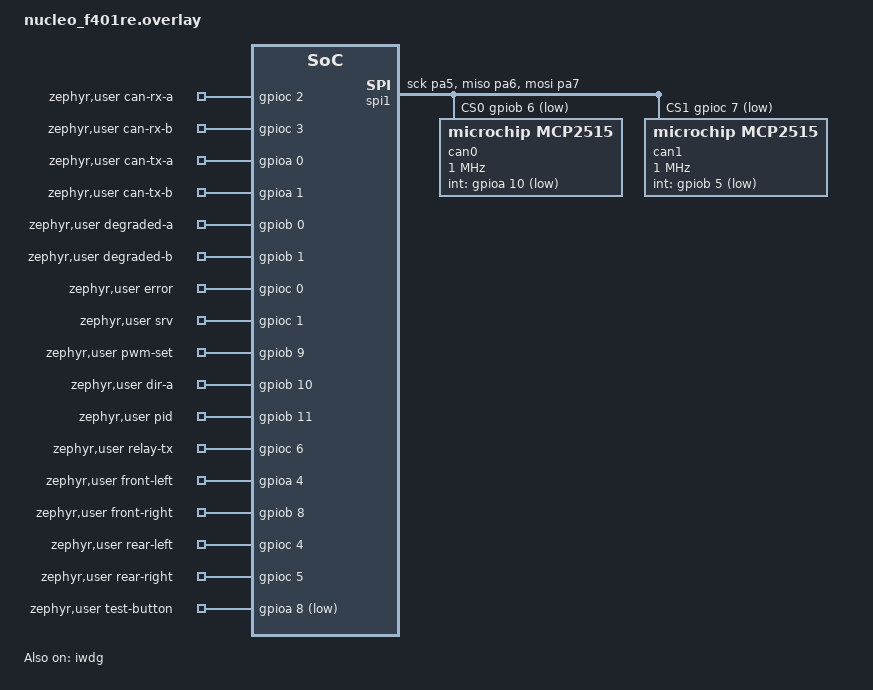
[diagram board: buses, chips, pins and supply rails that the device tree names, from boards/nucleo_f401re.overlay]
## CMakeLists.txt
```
cmake_minimum_required(VERSION 3.28.0)
find_package(Zephyr REQUIRED HINTS $ENV{ZEPHYR_BASE})
project(lab3_dual_can_demo)
target_sources(app PRIVATE src/main.c src/can_protocol.c src/frame_history.c src/timing_trace.c src/timing_stats.c)
```

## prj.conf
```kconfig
CONFIG_CAN=y
CONFIG_CAN_INIT_PRIORITY=80
CONFIG_GPIO=y
CONFIG_SERIAL=y
CONFIG_CONSOLE=y
CONFIG_UART_CONSOLE=y
CONFIG_PRINTK=y
CONFIG_PRINTK_SYNC=n
CONFIG_MAIN_STACK_SIZE=2048
CONFIG_SYSTEM_WORKQUEUE_STACK_SIZE=2048
CONFIG_HEAP_MEM_POOL_SIZE=1024
CONFIG_SYS_CLOCK_TICKS_PER_SEC=1000
CONFIG_ASSERT=y
CONFIG_WATCHDOG=y
CONFIG_SPI=y
CONFIG_CAN_MCP2515=y
CONFIG_CAN_DEFAULT_BITRATE=500000
```

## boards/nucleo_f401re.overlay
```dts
/* Lab 3 dual MCP2515 overlay for NUCLEO-F401RE.
 * Check pinctrl labels and the exact module oscillator before flashing.
 * Suggested wiring: SPI1 PA5/PA6/PA7 shared; CAN A CS PB6 / INT PA10;
 * CAN B CS PC7 / INT PB5. MCP2515 modules use 16 MHz oscillator per handout.
 */
#include <zephyr/dt-bindings/gpio/gpio.h>

/ {
    aliases { can-a = &can_a; can-b = &can_b; };
    zephyr,user {
        can-rx-a-gpios = <&gpioc 2 GPIO_ACTIVE_HIGH>;
        can-rx-b-gpios = <&gpioc 3 GPIO_ACTIVE_HIGH>;
        can-tx-a-gpios = <&gpioa 0 GPIO_ACTIVE_HIGH>;
        can-tx-b-gpios = <&gpioa 1 GPIO_ACTIVE_HIGH>;
        degraded-a-gpios = <&gpiob 0 GPIO_ACTIVE_HIGH>;
        degraded-b-gpios = <&gpiob 1 GPIO_ACTIVE_HIGH>;
        error-gpios = <&gpioc 0 GPIO_ACTIVE_HIGH>;
        srv-gpios = <&gpioc 1 GPIO_ACTIVE_HIGH>;
        pwm-set-gpios = <&gpiob 9 GPIO_ACTIVE_HIGH>;
        dir-a-gpios = <&gpiob 10 GPIO_ACTIVE_HIGH>;
        pid-gpios = <&gpiob 11 GPIO_ACTIVE_HIGH>;
        relay-tx-gpios = <&gpioc 6 GPIO_ACTIVE_HIGH>;
        front-left-gpios = <&gpioa 4 GPIO_ACTIVE_HIGH>;
        front-right-gpios = <&gpiob 8 GPIO_ACTIVE_HIGH>;
        rear-left-gpios = <&gpioc 4 GPIO_ACTIVE_HIGH>;
        rear-right-gpios = <&gpioc 5 GPIO_ACTIVE_HIGH>;
        test-button-gpios = <&gpioa 8 (GPIO_ACTIVE_LOW | GPIO_PULL_UP)>;
    };
};

&spi1 {
    status = "okay";
    pinctrl-0 = <&spi1_sck_pa5 &spi1_miso_pa6 &spi1_mosi_pa7>;
    pinctrl-names = "default";
    cs-gpios = <&gpiob 6 (GPIO_ACTIVE_LOW | GPIO_PULL_UP)>,
               <&gpioc 7 (GPIO_ACTIVE_LOW | GPIO_PULL_UP)>;
    can_a: mcp2515@0 {
        compatible = "microchip,mcp2515";
        reg = <0>;
        spi-max-frequency = <1000000>;
        int-gpios = <&gpioa 10 GPIO_ACTIVE_LOW>;
        osc-freq = <16000000>;
        status = "okay";
        label = "can0";
    };
    can_b: mcp2515@1 {
        compatible = "microchip,mcp2515";
        reg = <1>;
        spi-max-frequency = <1000000>;
        int-gpios = <&gpiob 5 GPIO_ACTIVE_LOW>;
        osc-freq = <16000000>;
        status = "okay";
        label = "can1";
    };
};

/* Independent watchdog: confirm this node label is present in your Zephyr board DTS. */
&iwdg { status = "okay"; };
```

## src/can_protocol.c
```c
/* Lab 3 CAN payload serialization and CRC-8/ATM. Do not send C structs directly. */
#include "can_protocol.h"
#include <string.h>
uint8_t lab3_crc8(const uint8_t *data, unsigned length)
{
    uint8_t crc = 0;
    for (unsigned i = 0; i < length; ++i) {
        crc ^= data[i];
        for (unsigned bit = 0; bit < 8; ++bit)
            crc = (crc & 0x80U) ? (uint8_t)((crc << 1) ^ 0x07U) : (uint8_t)(crc << 1);
    }
    return crc;
}
bool lab3_frame_valid(const struct can_frame *frame)
{
    return frame && !(frame->flags & (CAN_FRAME_IDE | CAN_FRAME_RTR | CAN_FRAME_FDF)) &&
        frame->dlc == 8 && lab3_crc8(frame->data, 7) == frame->data[7];
}
void lab3_seal(struct can_frame *frame) { frame->dlc = 8; frame->data[7] = lab3_crc8(frame->data, 7); }
void lab3_pack_heartbeat(struct can_frame *f, uint32_t id, uint8_t seq, uint8_t state, bool a, bool b)
{
    memset(f, 0, sizeof(*f)); f->id = id; f->flags = 0; f->dlc = 8;
    f->data[0] = seq & 0x0F; f->data[1] = state; f->data[2] = (a ? 1 : 0) | (b ? 2 : 0); lab3_seal(f);
}
void lab3_pack_fault(struct can_frame *f, uint8_t seq, uint8_t zone, uint8_t reason)
{
    memset(f, 0, sizeof(*f)); f->id = ID_FAULT; f->flags = 0; f->dlc = 8;
    f->data[0] = seq & 0x0F; f->data[1] = zone; f->data[2] = reason; lab3_seal(f);
}
void lab3_pack_force(struct can_frame *f, uint8_t seq, int8_t counter)
{
    memset(f, 0, sizeof(*f)); f->id = ID_FORCE; f->flags = 0; f->dlc = 8;
    f->data[0] = seq & 0x0F; f->data[1] = (uint8_t)counter; lab3_seal(f);
}
```

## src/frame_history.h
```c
#ifndef LAB3_FRAME_HISTORY_H
#define LAB3_FRAME_HISTORY_H
#include <stdbool.h>
#include <stdint.h>

/* This is a duplicate lifetime, NOT a wait before forwarding. It retains the
 * candidate's 5 ms skew allowance. Measure it against actual A/B/relay delays.
 * It must stay below the minimum time to reuse a 4-bit sequence (320 ms at 20 ms).
 * A reboot that reuses an ID/sequence inside this window is indistinguishable.
 */
#define FRAME_HISTORY_MS 5U
#define FRAME_HISTORY_SIZE 32U
struct frame_key { uint16_t id; uint8_t source, seq; };
struct frame_record {
    struct frame_key key;
    uint32_t first_ms;
    uint8_t seen_buses, attempted_buses;
    bool valid;
};
struct frame_history { struct frame_record records[FRAME_HISTORY_SIZE]; };
enum frame_observation { FRAME_NEW, FRAME_DUPLICATE, FRAME_HISTORY_FULL };
enum relay_claim { RELAY_SEND, RELAY_SUPPRESS, RELAY_STALE };

/* Caller serializes all access. Only validated catalog frames may enter. */
enum frame_observation frame_observe(struct frame_history *h,
    struct frame_key key, unsigned bus, uint32_t received_ms);
/* Claim at most one attempt on the opposite bus. No heartbeat state is used.
 * first_ms is the original receive timestamp carried with the queued frame.
 * No timer/wait is started; a known opposite-bus copy suppresses the send.
 */
enum relay_claim frame_claim_relay(struct frame_history *h,
    struct frame_key key, unsigned incoming_bus, uint32_t first_ms, uint32_t now_ms);
#endif
```

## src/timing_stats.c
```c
/* Low-overhead observed execution timing; max is not a formal WCET proof. */
#include "timing_stats.h"
#include <zephyr/kernel.h>
#include <zephyr/sys/atomic.h>
static atomic_t max_cycles[T_COUNT];
static atomic_t counts[T_COUNT];
uint32_t lab3_timing_start(void) { return k_cycle_get_32(); }
void lab3_timing_end(enum lab3_timing_id id, uint32_t start) {
    if (id < 0 || id >= T_COUNT) return;
    uint32_t elapsed = k_cycle_get_32() - start;
    atomic_inc(&counts[id]);
    atomic_val_t old = atomic_get(&max_cycles[id]);
    while ((uint32_t)old < elapsed && !atomic_cas(&max_cycles[id], old, (atomic_val_t)elapsed))
        old = atomic_get(&max_cycles[id]);
}
uint32_t lab3_timing_max_us(enum lab3_timing_id id) {
    if (id < 0 || id >= T_COUNT) return 0;
    return k_cyc_to_us_floor32((uint32_t)atomic_get(&max_cycles[id]));
}
uint32_t lab3_timing_count(enum lab3_timing_id id) {
    if (id < 0 || id >= T_COUNT) return 0;
    return (uint32_t)atomic_get(&counts[id]);
}
```

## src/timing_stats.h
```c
#ifndef LAB3_TIMING_STATS_H
#define LAB3_TIMING_STATS_H
#include <stdint.h>
enum lab3_timing_id {
    T_RX_DISPATCH=0, T_CAN_TX=1, T_STEER_DRIVE=2, T_HB_MON=3,
    T_HB_TX=4, T_PID=5, T_TEST_BTN=6, T_RELAY=7, T_COUNT=8
};
uint32_t lab3_timing_start(void);
void lab3_timing_end(enum lab3_timing_id id, uint32_t start_cycles);
uint32_t lab3_timing_max_us(enum lab3_timing_id id);
uint32_t lab3_timing_count(enum lab3_timing_id id);
#endif
```
